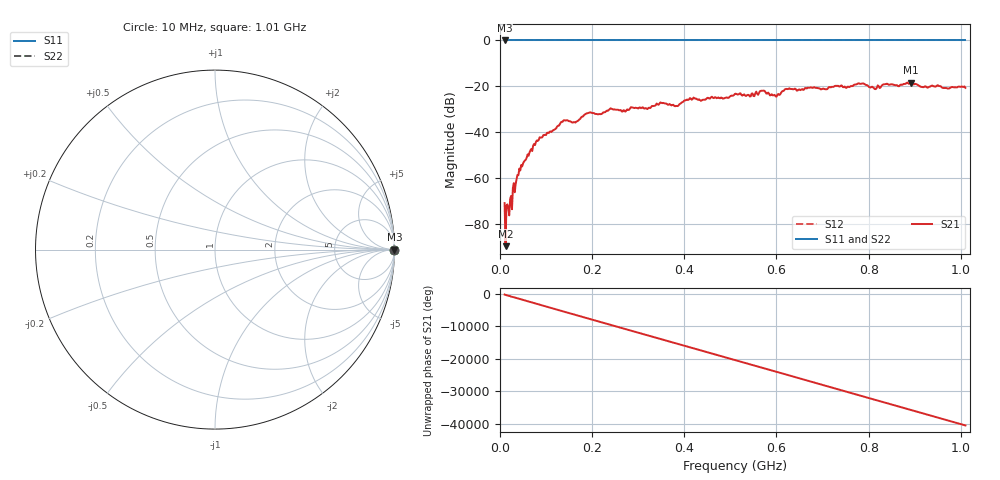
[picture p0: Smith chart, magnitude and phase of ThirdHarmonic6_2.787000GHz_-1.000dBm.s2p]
! 8/17/2025 7:11:08 AM
! C:\ANRITSUVNA\TEMP\TEMP.S2P
! CHANNEL.1
! TR.MEASUREMENT
! RAW.DATA
! RF.CORRECTION.OFF
! AVERAGING.OFF
! IF.BANDWIDTH: 5KHZ
! SWEEPTYPE:  FREQ.SWEEP(Linear)
! Reference Plane Port Info
! PORT:  PORT1  PORT2
! DISTANCE:  0  m  0  m
! TIME:  0  s  0  s
! PHASE.OFFSET:  0  deg.  0  deg.
! LOSS:  0  dB  0  dB
! REF.LOSS:  0  dB  0  dB
! REF.FREQ:  0  Hz  0  Hz
! Power Info
! POWER:  -20  dBm  -20  dBm
! EFF.POWER:  -20  dBm  -20  dBm
! SOURCE.ATTEN:  0  dB  0  dB
! TEST.ATTEN:  0  dB  0  dB
# GHZ S RI R 50.0
! FREQ.GHZ  S11RE  S11IM  S21RE  S21IM  S12RE  S12IM  S22RE  S22IM
!; PortSelection: Port_12
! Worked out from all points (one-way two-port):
!   501 points, 10 MHz to 1.01 GHz, reference 50 ohm
!   highest |S21| = -18.29 dB at 892 MHz (marker M1); lowest = -89.4 dB at 12 MHz (marker M2)
!   lowest |S11| = 0.0 dB at 10 MHz (marker M3)
!   |S11| at or under -10 dB: nowhere
!   |S22| runs from 0.0 to 0.0 dB; largest |S21 - S12| = 1.1
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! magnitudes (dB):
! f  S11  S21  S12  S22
! 10 MHz  0.0  -70.7  0.0  0.0
! 12 MHz  0.0  -89.4  0.0  0.0
! 16 MHz  0.0  -71.3  0.0  0.0
! 22 MHz  0.0  -68.9  0.0  0.0
! 26 MHz  0.0  -73.4  0.0  0.0
! 42 MHz  0.0  -55.7  0.0  0.0
! 76 MHz  0.0  -45.5  0.0  0.0
! 136 MHz  0.0  -35.3  0.0  0.0
! 162 MHz  0.0  -35.5  0.0  0.0
! 178 MHz  0.0  -33.1  0.0  0.0
! 344 MHz  0.0  -28.0  0.0  0.0
! 382 MHz  0.0  -28.5  0.0  0.0
! 410 MHz  0.0  -25.7  0.0  0.0
! 510 MHz  0.0  -23.2  0.0  0.0
! 570 MHz  0.0  -21.8  0.0  0.0
! 596 MHz  0.0  -23.7  0.0  0.0
! 624 MHz  0.0  -21.2  0.0  0.0
! 678 MHz  0.0  -20.7  0.0  0.0
! 814 MHz  0.0  -21.2  0.0  0.0
! 844 MHz  0.0  -19.3  0.0  0.0
! 892 MHz  0.0  -18.3  0.0  0.0
! 1.01 GHz  0.0  -20.6  0.0  0.0
